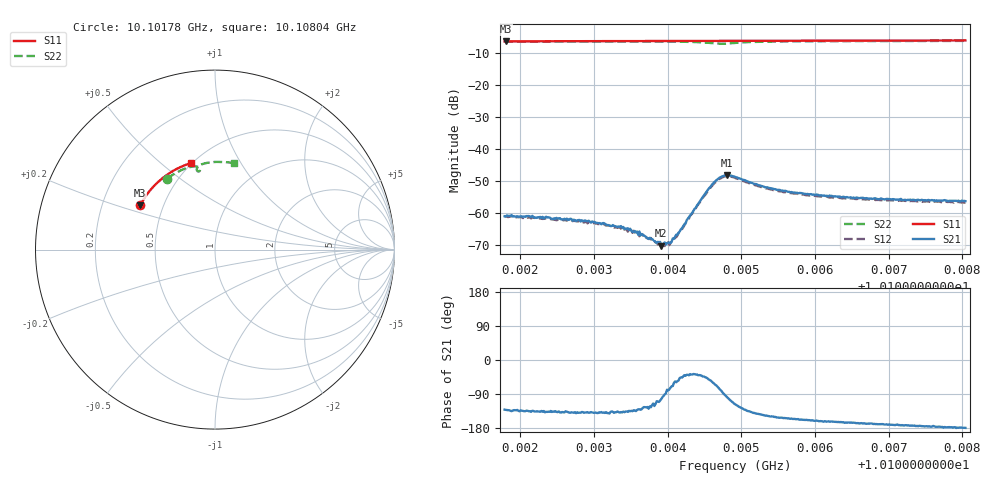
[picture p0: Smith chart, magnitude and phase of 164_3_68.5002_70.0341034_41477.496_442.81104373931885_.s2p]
#  HZ  S  RI  R  50.00
! Rohde & Schwarz Vector Network Analyzer
! Rohde-Schwarz,ZNB20-2Port,1311601062101988,3.16
! Created: UTC 3/20/2024, 4:55:55 PM
! freq[Hz]  re:S11  im:S11  re:S21  im:S21  re:S12  im:S12  re:S22  im:S22
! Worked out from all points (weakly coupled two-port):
!   401 points, 10.10178 GHz to 10.10804 GHz, reference 50 ohm
!   highest |S21| = -48.13 dB at 10.1048 GHz (marker M1); lowest = -70.1 dB at 10.10391 GHz (marker M2)
!   lowest |S11| = -6.3 dB at 10.1018 GHz (marker M3), VSWR 2.88, Z = 18.5 + j12 ohm
!   |S11| at or under -10 dB: nowhere
!   |S22| runs from -7.0 to -6.2 dB; largest |S21 - S12| = 0.00041
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1.0101785e10  -0.4169 0.247  -0.000591 -0.000679  -0.000571 -0.000688  -0.2661 0.3959
1.01018e10  -0.4164 0.2478  -0.000594 -0.000669  -0.000566 -0.000679  -0.2653 0.3965
1.0102363e10  -0.3993 0.2775  -0.000628 -0.000586  -0.000534 -0.000633  -0.235 0.417
1.0102833e10  -0.3834 0.3012  -0.000571 -0.000529  -0.000486 -0.000515  -0.2081 0.4324
1.0103036e10  -0.3763 0.3113  -0.000542 -0.000459  -0.000492 -0.000495  -0.196 0.4386
1.0103364e10  -0.364 0.327  -0.000464 -0.000428  -0.000397 -0.000424  -0.1758 0.4478
1.0103568e10  -0.356 0.3366  -0.000353 -0.000356  -0.000293 -0.000392  -0.1626 0.4529
1.010388e10  -0.3434 0.3507  -0.000124 -0.000329  -7.68e-05 -0.000331  -0.1411 0.4598
1.0103912e10  -0.3421 0.3521  -7.13e-05 -0.000304  -3.22e-05 -0.000331  -0.1388 0.4604
1.0103959e10  -0.34 0.3541  -3.75e-06 -0.000351  3.81e-05 -0.000305  -0.1353 0.4611
1.0104005e10  -0.3381 0.3561  5.84e-05 -0.000338  0.00011 -0.000336  -0.1317 0.462
1.0104052e10  -0.3361 0.3582  0.000125 -0.000336  0.000172 -0.000315  -0.128 0.4627
1.0104162e10  -0.3314 0.363  0.000351 -0.000385  0.000371 -0.000345  -0.1191 0.4637
1.0104412e10  -0.3205 0.3733  0.00107 -0.000904  0.00112 -0.000782  -0.0963 0.461
1.0104584e10  -0.3127 0.3804  0.00154 -0.00214  0.00163 -0.00195  -0.0836 0.4483
1.0104694e10  -0.308 0.3849  0.00094 -0.00341  0.0012 -0.00319  -0.0862 0.4373
1.0104803e10  -0.3029 0.3891  -0.000534 -0.00389  -0.000195 -0.0038  -0.097 0.4366
1.0104913e10  -0.298 0.3933  -0.00166 -0.00331  -0.0013 -0.00332  -0.1018 0.4466
1.0105429e10  -0.2733 0.4126  -0.00208 -0.00124  -0.00189 -0.00133  -0.0695 0.4767
1.010596e10  -0.2467 0.4306  -0.00182 -0.000699  -0.00167 -0.00083  -0.0318 0.4853
1.0107008e10  -0.1906 0.4606  -0.00164 -0.00029  -0.00156 -0.000417  0.0378 0.4886
1.010804e10  -0.1323 0.4828  -0.00155 -2.31e-05  -0.00147 -0.000159  0.1039 0.4814
